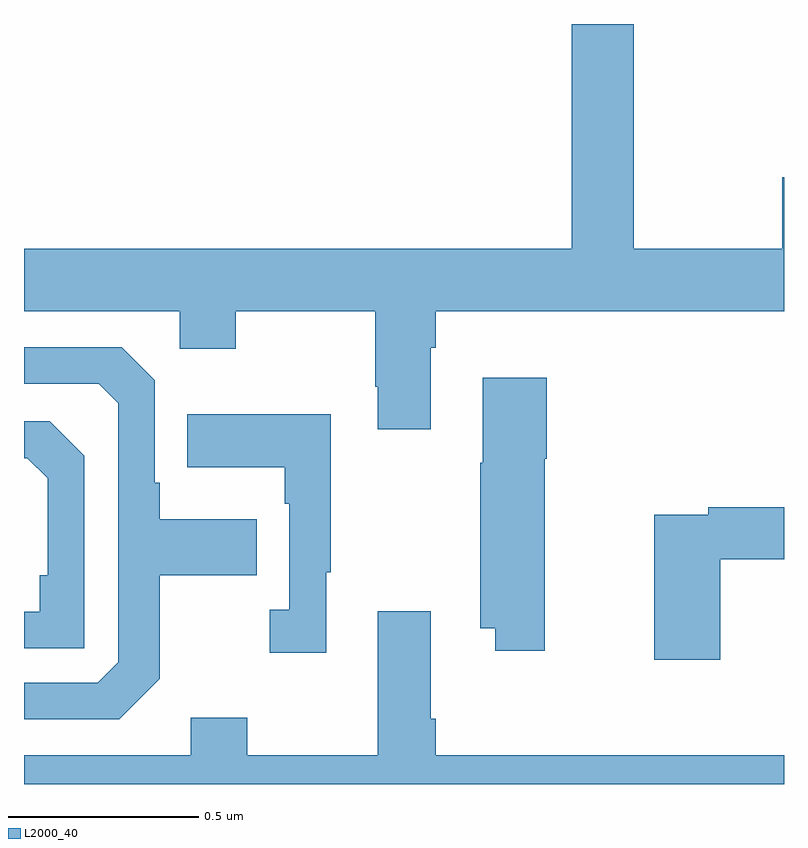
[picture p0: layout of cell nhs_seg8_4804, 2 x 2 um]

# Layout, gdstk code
import gdstk
lib = gdstk.Library(unit=1e-6, precision=1e-09)
def P(c, l, *ps):  # polygons
    for p in ps: c.add(gdstk.Polygon(p, *l))
L2000_40 = (2000, 40)

nhs_seg8_4804 = lib.new_cell('nhs_seg8_4804')
P(nhs_seg8_4804, L2000_40, [(176.071,1139.048),(176.084,1139.048),(176.084,1139.144),(177,1139.144),(177,1139.497),(176.996,1139.497),(176.996,1139.308),(176.605,1139.308),(176.605,1139.9),(176.441,1139.9),(176.441,1139.308),(175,1139.308),(175,1139.144),(175.41,1139.144),(175.41,1139.045),(175.557,1139.045),(175.557,1139.144),(175.924,1139.144),(175.924,1138.945),(175.931,1138.945),(175.931,1138.833),(176.071,1138.833)],
  [(175.357,1138.177),(175.357,1138.45),(175.613,1138.45),(175.613,1138.597),(175.357,1138.597),(175.357,1138.693),(175.344,1138.693),(175.344,1138.962),(175.257,1139.049),(175,1139.049),(175,1138.953),(175.197,1138.953),(175.248,1138.902),(175.248,1138.221),(175.194,1138.167),(175,1138.167),(175,1138.071),(175.251,1138.071)],
  [(176.37,1138.756),(176.375,1138.756),(176.375,1138.969),(176.207,1138.969),(176.207,1138.745),(176.2,1138.745),(176.2,1138.31),(176.24,1138.31),(176.24,1138.251),(176.37,1138.251)],
  [(175.795,1138.457),(175.807,1138.457),(175.807,1138.873),(175.429,1138.873),(175.429,1138.733),(175.686,1138.733),(175.686,1138.637),(175.698,1138.637),(175.698,1138.358),(175.647,1138.358),(175.647,1138.245),(175.795,1138.245)],
  [(175.158,1138.764),(175.068,1138.854),(175,1138.854),(175,1138.757),(175.009,1138.757),(175.062,1138.704),(175.062,1138.45),(175.042,1138.45),(175.042,1138.353),(175,1138.353),(175,1138.257),(175.158,1138.257)],
  [(176.832,1138.492),(177,1138.492),(177,1138.628),(176.8,1138.628),(176.8,1138.608),(176.659,1138.608),(176.659,1138.227),(176.832,1138.227)],
  [(177,1137.976),(176.084,1137.976),(176.084,1138.072),(176.071,1138.072),(176.071,1138.354),(175.931,1138.354),(175.931,1137.976),(175.587,1137.976),(175.587,1138.075),(175.439,1138.075),(175.439,1137.976),(175,1137.976),(175,1137.9),(177,1137.9)])

lib.write_gds('nhs_seg8_4804.gds')
